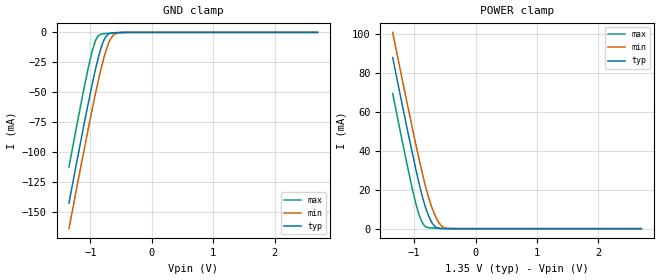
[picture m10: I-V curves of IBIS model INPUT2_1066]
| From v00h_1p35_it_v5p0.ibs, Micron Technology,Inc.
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| MODEL INPUT2_1066 (Add/Cmd/Ctrl Input Model, 800/1066Mbps)
[Model]   INPUT2_1066
Model_type   Input
Vinl = 515.000mV
Vinh = 835.000mV
|   typ   min   max
|C_comp   0.525pF   0.450pF   0.600pF
C_comp_power_clamp   0.2625pF   0.2250pF   0.3000pF
C_comp_gnd_clamp   0.2625pF   0.2250pF   0.3000pF
[Model Spec]
| Input threshold voltage corners
Vinl   0.5150V   0.4815V   0.5525V
Vinh   0.8350V   0.8015V   0.8725V
| Dynamic Overshoot Parameters from DDR3L Specification
D_overshoot_ampl_h   0.40   NA   NA
D_overshoot_ampl_l   0.40   NA   NA
D_overshoot_area_h   0.50n   NA   NA
D_overshoot_area_l   0.50n   NA   NA
[Receiver Thresholds]
Vth   =  0.675V
Vth_min  =  0.6615V
Vth_max  =  0.6885V
Vinh_ac  =  0.160V
Vinh_dc  =  0.090V
Vinl_ac  = -0.160V
Vinl_dc  = -0.090V
Tslew_ac =  5.000ns |Not specified, so set to high value
Threshold_sensitivity = 0.50
Reference_supply Power_clamp_ref
[Voltage Range]   1.3500V   1.2830V   1.4250V
[POWER Clamp Reference]   1.3500V   1.2830V   1.4250V
| Junction Temperature (Ambient temp is 35C typ, 95C min, -40C max)
[Temperature Range]   50.0   110.0   -40.0
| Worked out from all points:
|   GND clamp passes 1 mA (typ) near -0.68 V on its own axis
|   POWER clamp passes 1 mA (typ) near -0.65 V on its own axis
[GND Clamp]
|   Voltage   I(typ)   I(min)   I(max)
-1.35V    -142.4mA   -163.7mA   -112.3mA
-1.19V    -99.33mA   -120.7mA   -68.89mA
-1.03V    -57.9mA    -79mA      -28.23mA
-975mV    -44.07mA   -64.98mA   -16.17mA
-920mV    -31.3mA    -51.44mA   -7.012mA
-870mV    -20.74mA   -39.87mA   -2.652mA
-785mV    -7.005mA   -21.91mA   -1.144mA
-710mV    -1.569mA   -9.806mA   -758.2uA
-625mV    -347uA     -2.287mA   -419.6uA
-565mV    -159.6uA   -640.2uA   -246.6uA
-440mV    -35.41uA   -45.12uA   -51.8uA
2.7V      0A         0A         0A
[POWER Clamp]
|   Voltage   I(typ)   I(min)   I(max)
-1.35V    87.76mA    100.7mA    69.31mA
-1.19V    62.83mA    75.76mA    44.18mA
-1.03V    38.76mA    51.6mA     20.36mA
-975mV    30.7mA     43.46mA    13.05mA
-915mV    22.53mA    34.9mA     6.587mA
-835mV    12.9mA     24.2mA     1.55mA
-785mV    8.157mA    18.21mA    624.5uA
-725mV    3.843mA    12.08mA    366.7uA
-665mV    1.21mA     7.141mA    240.1uA
-560mV    111.4uA    1.548mA    102.7uA
-400mV    15.18uA    30.07uA    19.47uA
2.7V      0A         0A         0A
